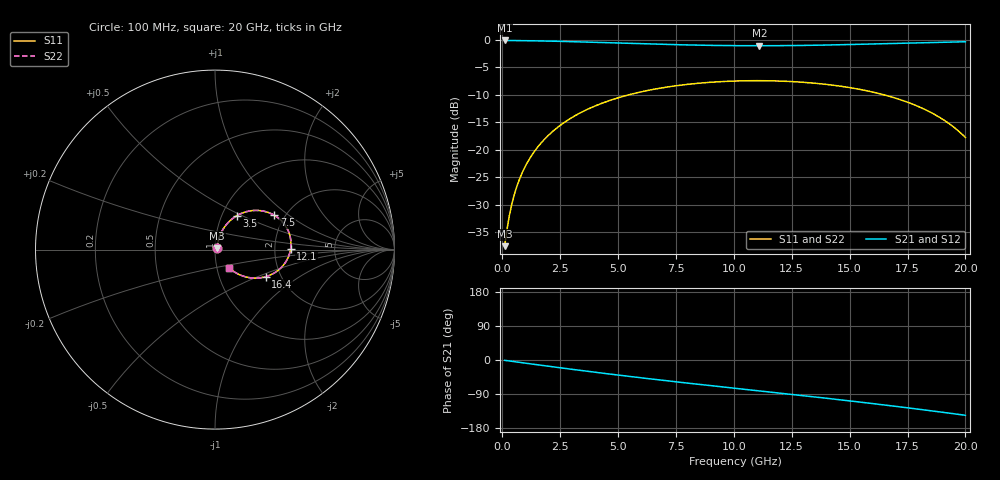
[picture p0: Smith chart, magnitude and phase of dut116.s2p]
! Touchstone file exported from HFSS 2026.1.0
!  File:  C:/ffzhzh/LocalFiles/Ansys_Project_Files/temp_train_TSV_RDL_116_1783047004_17544.aedt
!  Generated:  11:01:31 AM Jul  3, 2026
!  Design:  TSV_RDL
!  Project:  temp_train_TSV_RDL_116_1783047004_17544
! Variables:
!  h_bsmrdl = 5.41um
!  h_ox = 20um
!  h_rdl = 5um
!  h_sub = 99.97um
!  h_tmrdl = 2.97um
!  h_tsv = 99.97um
!  h_via = 3um
!  l_bsmrdl = 266.93um
!  l_sub = 2065.49um
!  l_tmrdl = 186.1um
!  m_sub = 200um
!  pitch = 56.78um
!  r_tsv = 14.01um
!  s_tmrdl = 10um
!  w_bsmrdl = 28.61um
!  w_sub = 500um
!  w_tmrdl = 11.49um
!  x_tsv_center1 = 191.845um
!  x_tsv_center2 = 487.385um
!  x_tsv_center3 = 684.975um
!  x_tsv_center4 = 980.515um
!  x_tsv_center5 = 1178.105um
!  x_tsv_center6 = 1473.645um
# GHz S MA R 50.000000
! Terminal data exported
! Port[1] = TM_RDL1_1_T1
! Port[2] = TM_RDL5_1_T1
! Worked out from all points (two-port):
!   200 points, 100 MHz to 20 GHz, reference 50 ohm
!   highest |S21| = -0.10 dB at 100 MHz (marker M1); lowest = -1.1 dB at 11.1 GHz (marker M2)
!   |S21| within 3 dB of the highest: start of sweep to end of sweep
!   lowest |S11| = -37.6 dB at 100 MHz (marker M3), VSWR 1.03, Z = 51.1 + j0.749 ohm
!   |S11| at or under -10 dB: start of sweep to 5.462 GHz; 16.48 GHz to end of sweep
!   |S22| runs from -37.6 to -7.4 dB; largest |S21 - S12| = 8.1e-14
!   S11 on the Smith chart (normalised r, x): 100 MHz: 1.02, +0.01; 3.5 GHz: 1.17, +0.47; 7.5 GHz: 1.77, +0.79; 12.1 GHz: 2.45, +0.01; 16.4 GHz: 1.67, -0.56; 20 GHz: 1.14, -0.24
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0.1  0.01322 33.7  0.9891 -0.9  0.9891 -0.9  0.01322 33.7
! Gamma 0 0 0 0
! Port Impedance 50 0 50 0
0.3  0.02477 59.5  0.9882 -2.6  0.9882 -2.6  0.02477 59.5
0.5  0.03776 66.9  0.9871 -4.2  0.9871 -4.2  0.03776 66.9
0.8  0.05765 70.4  0.9855 -6.7  0.9855 -6.7  0.05765 70.4
1.1  0.07757 70.9  0.9836 -9.2  0.9836 -9.2  0.07757 70.9
1.6  0.1103 69.3  0.9798 -13.3  0.9798 -13.3  0.1103 69.3
2.1  0.142 66.7  0.975 -17.3  0.975 -17.3  0.142 66.7
2.7  0.1784 62.8  0.9683 -22.1  0.9683 -22.1  0.1784 62.8
3.5  0.2237 57.4  0.9581 -28.4  0.9581 -28.4  0.2237 57.4
5  0.297 46.9  0.937 -39.8  0.937 -39.8  0.297 46.9
6.8  0.3631 34.6  0.913 -52.7  0.913 -52.7  0.3631 34.6
7.5  0.3823 29.9  0.9051 -57.5  0.9051 -57.5  0.3823 29.9
10.1  0.4226 13.1  0.8869 -75.0  0.8869 -75.0  0.4226 13.0
11.1  0.4254 6.7  0.8854 -81.6  0.8854 -81.6  0.4254 6.7
12.1  0.4211 0.3  0.887 -88.2  0.887 -88.2  0.4211 0.3
13.4  0.405 -8.1  0.8937 -96.9  0.8937 -96.9  0.405 -8.1
15  0.368 -18.7  0.908 -107.9  0.908 -107.9  0.368 -18.7
16.4  0.3196 -28.2  0.9242 -117.9  0.9242 -117.9  0.3195 -28.3
16.7  0.3072 -30.3  0.9279 -120.1  0.9279 -120.1  0.3072 -30.3
18.6  0.2134 -43.5  0.9504 -134.7  0.9504 -134.7  0.2134 -43.6
19.4  0.1666 -48.9  0.9582 -141.0  0.9582 -141.0  0.1666 -48.9
20  0.1291 -52.4  0.9628 -145.9  0.9628 -145.9  0.1291 -52.4
